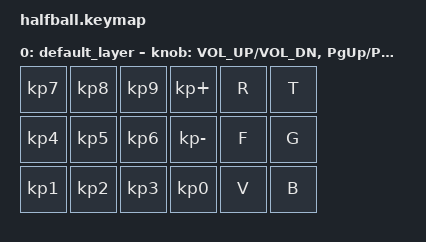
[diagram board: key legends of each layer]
#include <behaviors.dtsi>
#include <dt-bindings/zmk/keys.h>

/ {
    keymap {
        compatible = "zmk,keymap";

        default_layer {
            bindings = <
    &kp KP_N7    &kp KP_N8    &kp KP_N9    &kp KP_PLUS     &kp R     &kp T
    &kp KP_N4    &kp KP_N5    &kp KP_N6    &kp KP_MINUS     &kp F     &kp G
    &kp KP_N1    &kp KP_N2    &kp KP_N3    &kp KP_N0     &kp V     &kp B
            >;

            sensor-bindings = <&inc_dec_kp C_VOL_UP C_VOL_DN &inc_dec_kp PG_UP PG_DN>;
        };
    };
};
